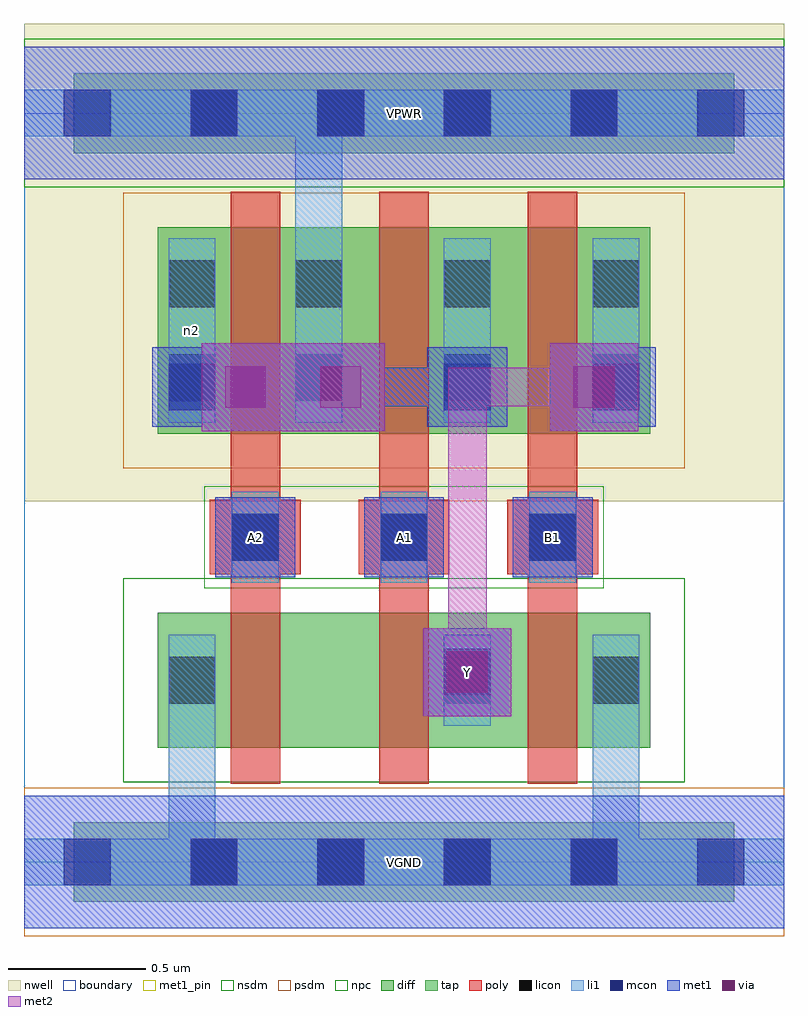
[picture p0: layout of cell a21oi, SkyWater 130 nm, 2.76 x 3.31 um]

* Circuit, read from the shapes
.subckt a21oi A1 A2 B1 VGND VPWR Y n2
XM1 n1 A2 VGND VGND sky130_fd_pr__nfet_01v8 w=0.49 l=0.18
XM2 Y A1 n1 VGND sky130_fd_pr__nfet_01v8 w=0.49 l=0.18
XM3 VGND B1 Y VGND sky130_fd_pr__nfet_01v8 w=0.49 l=0.18
XM4 VPWR A2 n2 VPWR sky130_fd_pr__pfet_01v8 w=0.75 l=0.18
XM5 n2 A1 VPWR VPWR sky130_fd_pr__pfet_01v8 w=0.75 l=0.18
XM6 Y B1 n2 VPWR sky130_fd_pr__pfet_01v8 w=0.75 l=0.18
.ends

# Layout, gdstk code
import gdstk
lib = gdstk.Library(unit=1e-6, precision=1e-09)
def R(c, l, rs):  # rectangles x0, y0, x1, y1
    for r in rs: c.add(gdstk.rectangle(r[:2], r[2:], *l))
def A(c, l, x, y, w, h, nx, ny, dx, dy):  # array of equal rectangles
    R(c, l, [(x+i*dx, y+j*dy, x+i*dx+w, y+j*dy+h) for i in range(nx) for j in range(ny)])
nwell = (64, 20)
diff = (65, 20)
tap = (65, 44)
poly = (66, 20)
licon = (66, 44)
li1 = (67, 20)
mcon = (67, 44)
met1_pin = (68, 16)
met1 = (68, 20)
via = (68, 44)
met2 = (69, 20)
nsdm = (93, 44)
psdm = (94, 20)
npc = (95, 20)
boundary = (235, 4)

a21oi = lib.new_cell('a21oi')
R(a21oi, nwell, [(0,1.31,2.76,3.045)])
R(a21oi, diff, [(0.485,0.415,2.275,0.905), (0.485,1.555,2.275,2.305)])
R(a21oi, tap, [(0.18,-0.145,2.58,0.145), (0.18,2.575,2.58,2.865)])
A(a21oi, poly, 0.75, 0.285, 0.18, 2.15, 3, 1, 0.54, 0)
A(a21oi, poly, 0.675, 1.045, 0.33, 0.27, 3, 1, 0.54, 0)
A(a21oi, licon, 0.605, -0.085, 0.17, 0.17, 4, 2, 0.46, 2.72)
A(a21oi, licon, 0.755, 1.095, 0.17, 0.17, 3, 1, 0.54, 0)
A(a21oi, licon, 0.985, 1.675, 0.17, 0.17, 3, 2, 0.54, 0.34)
R(a21oi, licon, [(0.525,0.575,0.695,0.745), (1.525,0.575,1.695,0.745), (2.065,0.575,2.235,0.745), (0.525,1.675,0.695,1.845), (0.525,2.015,0.695,2.185)])
A(a21oi, li1, 0.755, 1.015, 0.17, 0.33, 3, 1, 0.54, 0)
A(a21oi, li1, 0.985, 1.595, 0.17, 0.67, 3, 1, 0.54, 0)
R(a21oi, li1, [(0,-0.085,2.76,0.085), (0.525,-0.085,0.695,0.825), (2.065,-0.085,2.235,0.825), (0.525,0.495,0.695,0.825), (1.525,0.495,1.695,0.825), (2.065,0.495,2.235,0.825), (0.525,1.595,0.695,2.265), (0.985,1.595,1.155,2.805), (0,2.635,2.76,2.805)])
A(a21oi, mcon, 0.145, -0.085, 0.17, 0.17, 6, 2, 0.46, 2.72)
A(a21oi, mcon, 0.755, 1.095, 0.17, 0.17, 3, 1, 0.54, 0)
R(a21oi, mcon, [(1.525,0.605,1.695,0.775), (0.525,1.64,0.695,1.81), (1.525,1.64,1.695,1.81), (2.065,1.64,2.235,1.81)])
A(a21oi, met1_pin, 0.695, 1.035, 0.29, 0.29, 3, 1, 0.54, 0)
R(a21oi, met1_pin, [(0,-0.24,2.76,0.24), (1.45,0.53,1.77,0.85), (0,2.48,2.76,2.96)])
A(a21oi, met1, 0.695, 1.035, 0.29, 0.29, 3, 1, 0.54, 0)
R(a21oi, met1, [(0,-0.24,2.76,0.24), (1.45,0.53,1.77,0.85), (1.465,0.545,1.755,0.835), (0.645,1.565,0.965,1.885), (0.965,1.565,0.99,1.885), (0.99,1.565,1.31,1.885), (1.91,1.565,2.23,1.885), (0.465,1.58,0.755,1.87), (1.465,1.58,1.755,1.87), (2.005,1.58,2.295,1.87), (0.54,1.655,0.875,1.795), (0.875,1.655,0.99,1.795), (0.965,1.655,1.08,1.795), (1.08,1.655,1.68,1.795), (2,1.655,2.22,1.795), (0,2.48,2.76,2.96)])
R(a21oi, via, [(1.535,0.615,1.685,0.765), (0.73,1.65,0.88,1.8), (1.075,1.65,1.225,1.8), (1.995,1.65,2.145,1.8)])
R(a21oi, met2, [(1.45,0.53,1.77,0.85), (1.54,0.62,1.68,1.795), (0.645,1.565,0.965,1.885), (0.965,1.565,0.99,1.885), (0.99,1.565,1.31,1.885), (1.91,1.565,2.23,1.885), (0.735,1.655,1.22,1.795), (1.54,1.655,2.14,1.795)])
R(a21oi, nsdm, [(0.36,0.29,2.4,1.03), (0,2.45,2.76,2.99)])
R(a21oi, psdm, [(0,-0.27,2.76,0.27), (0.36,1.43,2.4,2.43)])
R(a21oi, npc, [(0.655,0.995,2.105,1.365)])
R(a21oi, boundary, [(0,0,2.76,2.72)])
a21oi.add(gdstk.Label('n2', (0.61,1.93), layer=67, texttype=5))
a21oi.add(gdstk.Label('A1', (1.38,1.18), layer=68, texttype=5))
a21oi.add(gdstk.Label('A2', (0.84,1.18), layer=68, texttype=5))
a21oi.add(gdstk.Label('B1', (1.92,1.18), layer=68, texttype=5))
a21oi.add(gdstk.Label('Y', (1.61,0.69), layer=68, texttype=5))
a21oi.add(gdstk.Label('VPWR', (1.38,2.72), layer=68, texttype=5))
a21oi.add(gdstk.Label('VGND', (1.38,0), layer=68, texttype=5))
a21oi.add(gdstk.Label('A1', (1.38,1.18), layer=68, texttype=16))
a21oi.add(gdstk.Label('A2', (0.84,1.18), layer=68, texttype=16))
a21oi.add(gdstk.Label('B1', (1.92,1.18), layer=68, texttype=16))
a21oi.add(gdstk.Label('Y', (1.61,0.69), layer=68, texttype=16))
a21oi.add(gdstk.Label('VPWR', (1.38,2.72), layer=68, texttype=16))
a21oi.add(gdstk.Label('VGND', (1.38,0), layer=68, texttype=16))

lib.write_gds('a21oi.gds')
